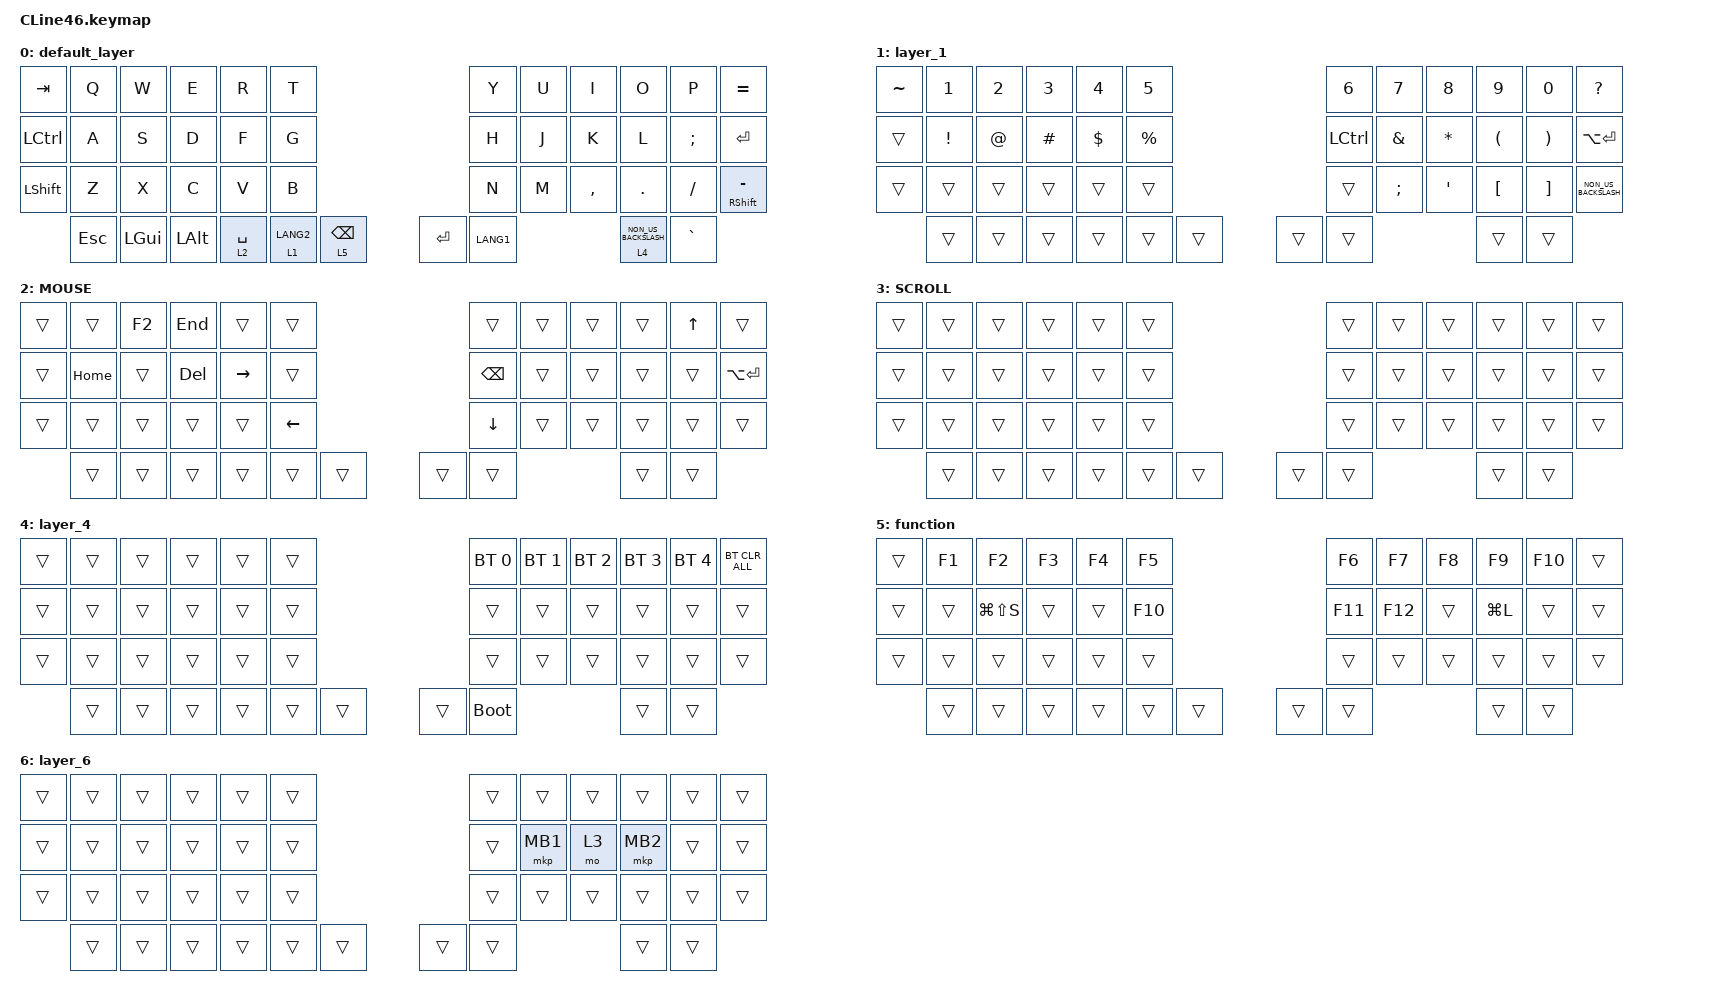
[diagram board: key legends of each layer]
#include <input/processors.dtsi>
#include <dt-bindings/zmk/input_transform.h>
#include <zephyr/dt-bindings/input/input-event-codes.h>
#include <behaviors.dtsi>
#include <dt-bindings/zmk/bt.h>
#include <dt-bindings/zmk/keys.h>
#include <dt-bindings/zmk/pointing.h>

&mt {
    flavor = "balanced";
    quick-tap-ms = <0>;
};

/ {
    combos {
        compatible = "zmk,combos";

        tab {
            bindings = <&kp TAB>;
            key-positions = <11 12>;
        };

        shift_tab {
            bindings = <&kp LS(TAB)>;
            key-positions = <12 13>;
        };
    };

    macros {
        to_layer_0: to_layer_0 {
            compatible = "zmk,behavior-macro-one-param";
            #binding-cells = <1>;
            bindings = <&to 0 &macro_param_1to1 &kp MACRO_PLACEHOLDER>;
            label = "TO_LAYER_0";
        };
    };

    behaviors {
        lt_to_layer_0: lt_to_layer_0 {
            compatible = "zmk,behavior-hold-tap";
            label = "LAYER_TAP_TO_0";
            bindings = <&mo>, <&to_layer_0>;

            #binding-cells = <2>;
            tapping-term-ms = <200>;
        };
    };

    keymap {
        compatible = "zmk,keymap";

        default_layer {
            bindings = <
&kp TAB     &kp Q    &kp W     &kp E     &kp R        &kp T                                    &kp Y      &kp U  &kp I      &kp O                   &kp P          &kp EQUAL
&kp LCTRL   &kp A    &kp S     &kp D     &kp F        &kp G                                    &kp H      &kp J  &kp K      &kp L                   &kp SEMICOLON  &kp ENTER
&kp LSHIFT  &kp Z    &kp X     &kp C     &kp V        &kp B                                    &kp N      &kp M  &kp COMMA  &kp DOT                 &kp SLASH      &mt RSHIFT MINUS
            &kp ESC  &kp LGUI  &kp LALT  &lt 2 SPACE  &lt 1 LANG2  &lt 5 BACKSPACE    &kp RET  &kp LANG1                    &lt 4 NON_US_BACKSLASH  &kp GRAVE
            >;
        };

        layer_1 {
            bindings = <
&kp TILDE  &kp N1           &kp N2       &kp N3    &kp N4      &kp N5                         &kp N6     &kp N7         &kp N8        &kp N9                &kp N0                 &kp QMARK
&trans     &kp EXCLAMATION  &kp AT_SIGN  &kp HASH  &kp DOLLAR  &kp PERCENT                    &kp LCTRL  &kp AMPERSAND  &kp ASTERISK  &kp LEFT_PARENTHESIS  &kp RIGHT_PARENTHESIS  &kp LA(ENTER)
&trans     &trans           &trans       &trans    &trans      &trans                         &trans     &kp SEMICOLON  &kp SQT       &kp LEFT_BRACKET      &kp RIGHT_BRACKET      &kp NON_US_BACKSLASH
           &trans           &trans       &trans    &trans      &trans       &trans    &trans  &trans                                  &trans                &trans
            >;
        };

        MOUSE {
            bindings = <
&trans  &trans    &kp F2  &kp END     &trans     &trans                      &trans         &trans  &trans  &trans  &kp UP_ARROW  &trans
&trans  &kp HOME  &trans  &kp DELETE  &kp RIGHT  &trans                      &kp BACKSPACE  &trans  &trans  &trans  &trans        &kp LA(ENTER)
&trans  &trans    &trans  &trans      &trans     &kp LEFT                    &kp DOWN       &trans  &trans  &trans  &trans        &trans
        &trans    &trans  &trans      &trans     &trans    &trans    &trans  &trans                         &trans  &trans
            >;
        };

        SCROLL {
            bindings = <
&trans  &trans  &trans  &trans  &trans  &trans                    &trans  &trans  &trans  &trans  &trans  &trans
&trans  &trans  &trans  &trans  &trans  &trans                    &trans  &trans  &trans  &trans  &trans  &trans
&trans  &trans  &trans  &trans  &trans  &trans                    &trans  &trans  &trans  &trans  &trans  &trans
        &trans  &trans  &trans  &trans  &trans  &trans    &trans  &trans                  &trans  &trans
            >;
        };

        layer_4 {
            bindings = <
&trans  &trans  &trans  &trans  &trans  &trans                    &bt BT_SEL 0  &bt BT_SEL 1  &bt BT_SEL 2  &bt BT_SEL 3  &bt BT_SEL 4  &bt BT_CLR_ALL
&trans  &trans  &trans  &trans  &trans  &trans                    &trans        &trans        &trans        &trans        &trans        &trans
&trans  &trans  &trans  &trans  &trans  &trans                    &trans        &trans        &trans        &trans        &trans        &trans
        &trans  &trans  &trans  &trans  &trans  &trans    &trans  &bootloader                               &trans        &trans
            >;
        };

        function {
            bindings = <
&trans  &kp F1  &kp F2         &kp F3  &kp F4  &kp F5                     &kp F6   &kp F7   &kp F8  &kp F9     &kp F10  &trans
&trans  &trans  &kp LG(LS(S))  &trans  &trans  &kp F10                    &kp F11  &kp F12  &trans  &kp LG(L)  &trans   &trans
&trans  &trans  &trans         &trans  &trans  &trans                     &trans   &trans   &trans  &trans     &trans   &trans
        &trans  &trans         &trans  &trans  &trans   &trans    &trans  &trans                    &trans     &trans
            >;
        };

        layer_6 {
            bindings = <
&trans  &trans  &trans  &trans  &trans  &trans                    &trans  &trans    &trans  &trans    &trans  &trans
&trans  &trans  &trans  &trans  &trans  &trans                    &trans  &mkp MB1  &mo 3   &mkp MB2  &trans  &trans
&trans  &trans  &trans  &trans  &trans  &trans                    &trans  &trans    &trans  &trans    &trans  &trans
        &trans  &trans  &trans  &trans  &trans  &trans    &trans  &trans                    &trans    &trans
            >;
        };
    };
};
